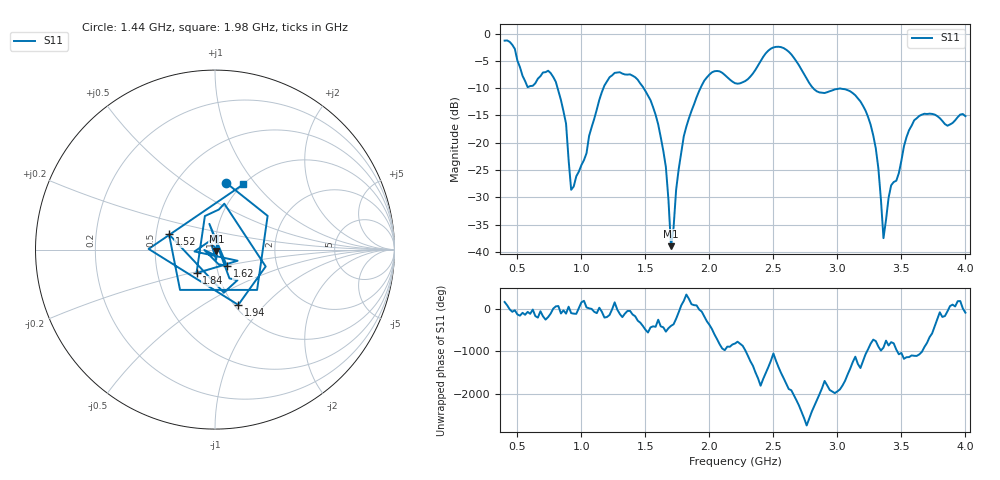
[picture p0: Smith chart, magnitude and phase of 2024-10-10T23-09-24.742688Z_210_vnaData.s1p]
! Created with skrf (http://scikit-rf.org).
# Hz S RI R 50.0
!freq ReS11 ImS11
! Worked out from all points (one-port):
!   181 points, 400 MHz to 4 GHz, reference 50 ohm
!   lowest |S11| = -39.0 dB at 1.7 GHz (marker M1), VSWR 1.02, Z = 50.8 - j0.779 ohm
!   |S11| at or under -10 dB: 813.7 MHz to 1.172 GHz (358.4 MHz wide, 36.1 % of centre); 1.486 GHz to 1.93 GHz (444.4 MHz wide, 26 % of centre); 2.81 GHz to end of sweep
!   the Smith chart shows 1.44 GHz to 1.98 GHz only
!   S11 on the Smith chart (normalised r, x): 1.44 GHz: 0.84, +0.73; 1.52 GHz: 0.58, +0.11; 1.62 GHz: 1.12, -0.21; 1.84 GHz: 0.79, -0.21; 1.94 GHz: 1.04, -0.72; 1.98 GHz: 1.00, +0.86
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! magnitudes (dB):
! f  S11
! 400 MHz  -1.3
! 580 MHz  -9.8
! 760 MHz  -7.3
! 860 MHz  -14.3
! 880 MHz  -16.5
! 920 MHz  -28.6
! 1.18 GHz  -9.5
! 1.3 GHz  -7.1
! 1.44 GHz  -8.5
! 1.52 GHz  -11.4
! 1.62 GHz  -19.0
! 1.66 GHz  -24.5
! 1.7 GHz  -39.0
! 1.76 GHz  -24.9
! 1.84 GHz  -15.5
! 1.94 GHz  -9.5
! 1.98 GHz  -8.1
! 2.2 GHz  -9.1
! 2.5 GHz  -2.6
! 2.66 GHz  -4.4
! 2.84 GHz  -10.6
! 3.1 GHz  -10.6
! 3.28 GHz  -18.7
! 3.32 GHz  -24.7
! 3.36 GHz  -37.5
! 3.42 GHz  -27.8
! 3.56 GHz  -17.7
! 4 GHz  -15.1
